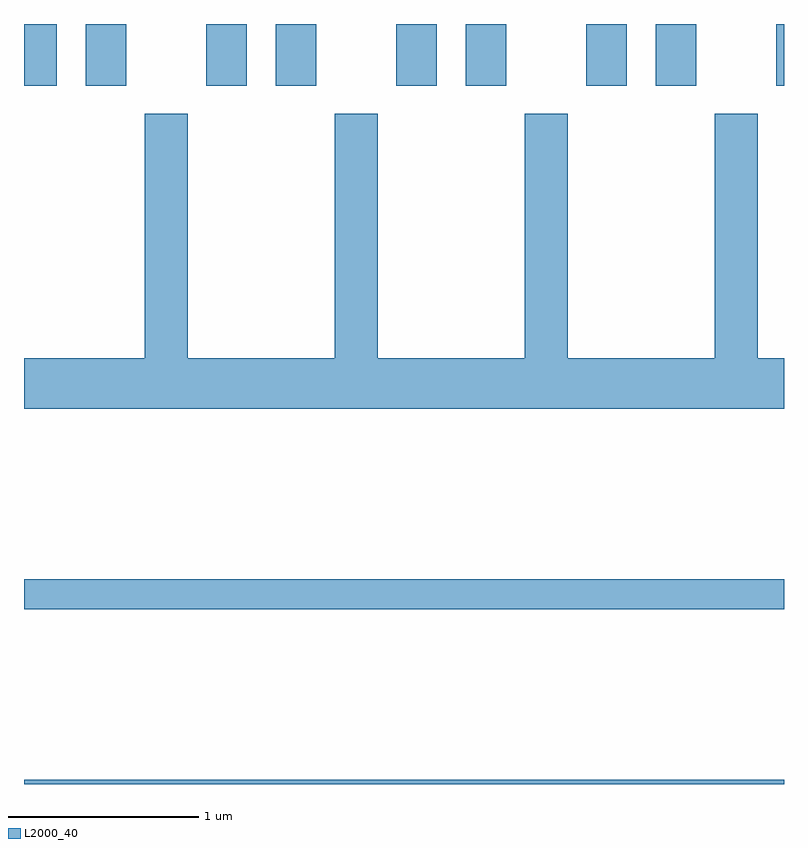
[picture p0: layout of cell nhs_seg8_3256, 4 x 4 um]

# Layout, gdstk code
import gdstk
lib = gdstk.Library(unit=1e-6, precision=1e-09)
def R(c, l, rs):  # rectangles x0, y0, x1, y1
    for r in rs: c.add(gdstk.rectangle(r[:2], r[2:], *l))
def P(c, l, *ps):  # polygons
    for p in ps: c.add(gdstk.Polygon(p, *l))
L2000_40 = (2000, 40)

nhs_seg8_3256 = lib.new_cell('nhs_seg8_3256')
R(nhs_seg8_3256, L2000_40, [(281.611,1934.342,285.611,1934.364), (281.611,1935.261,285.611,1935.419), (281.611,1938.016,281.784,1938.342), (281.936,1938.016,282.149,1938.342), (282.571,1938.016,282.784,1938.342), (282.936,1938.016,283.149,1938.342), (283.571,1938.016,283.784,1938.342), (283.936,1938.016,284.149,1938.342), (284.571,1938.016,284.784,1938.342), (284.936,1938.016,285.149,1938.342), (285.571,1938.016,285.611,1938.342)])
P(nhs_seg8_3256, L2000_40, [(285.611,1936.584),(285.474,1936.584),(285.474,1937.869),(285.246,1937.869),(285.246,1936.584),(284.474,1936.584),(284.474,1937.869),(284.246,1937.869),(284.246,1936.584),(283.474,1936.584),(283.474,1937.869),(283.246,1937.869),(283.246,1936.584),(282.474,1936.584),(282.474,1937.869),(282.246,1937.869),(282.246,1936.584),(281.611,1936.584),(281.611,1936.316),(285.611,1936.316)])

lib.write_gds('nhs_seg8_3256.gds')
